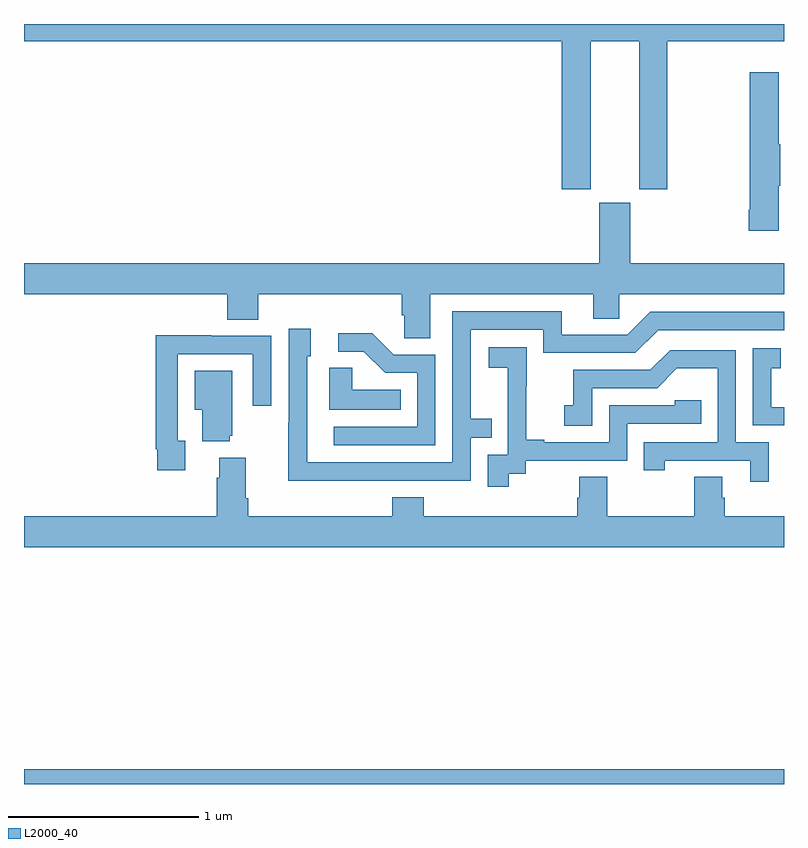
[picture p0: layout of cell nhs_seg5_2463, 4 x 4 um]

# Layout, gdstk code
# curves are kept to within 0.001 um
import gdstk
lib = gdstk.Library(unit=1e-6, precision=1e-09)
def R(c, l, rs):  # rectangles x0, y0, x1, y1
    for r in rs: c.add(gdstk.rectangle(r[:2], r[2:], *l))
def P(c, l, *ps):  # polygons
    for p in ps: c.add(gdstk.Polygon(p, *l))
L2000_40 = (2000, 40)

nhs_seg5_2463 = lib.new_cell('nhs_seg5_2463')
R(nhs_seg5_2463, L2000_40, [(253,904.799,257,904.876)])
P(nhs_seg5_2463, L2000_40, [(255.982,908.708),(256.238,908.708),(256.238,907.929),(256.386,907.929),(256.386,908.708),(257,908.708),(257,908.799),(253,908.799),(253,908.708),(255.83,908.708),(255.83,907.929),(255.982,907.929)],
  [(256.972,907.948),(256.98,907.948),(256.98,908.165),(256.972,908.165),(256.972,908.545),(256.819,908.545),(256.819,907.822),(256.814,907.822),(256.814,907.71),(256.972,907.71)],
  [(255.139,907.376),(255.995,907.376),(255.995,907.249),(256.134,907.249),(256.134,907.376),(257,907.376),(257,907.54),(256.192,907.54),(256.192,907.857),(256.028,907.857),(256.028,907.54),(253,907.54),(253,907.376),(254.069,907.376),(254.069,907.243),(254.234,907.243),(254.234,907.376),(254.987,907.376),(254.987,907.267),(255,907.267),(255,907.144),(255.139,907.144)],
  [(254.855,906.396),(255.351,906.396),(255.351,906.621),(255.461,906.621),(255.461,906.722),(255.351,906.722),(255.351,907.191),(255.732,907.191),(255.732,907.068),(256.218,907.068),(256.338,907.188),(257,907.188),(257,907.284),(256.296,907.284),(256.176,907.164),(255.829,907.164),(255.829,907.287),(255.255,907.287),(255.255,906.492),(254.49,906.492),(254.49,907.05),(254.509,907.05),(254.509,907.195),(254.394,907.195),(254.394,906.701),(254.392,906.701),(254.392,906.395)],
  [(255.165,907.059),(254.946,907.059),(254.833,907.172),(254.655,907.172),(254.655,907.074),(254.789,907.074),(254.9,906.963),(255.069,906.963),(255.069,906.678),(254.631,906.678),(254.631,906.582),(255.165,906.582)],
  [(253.849,906.606),(253.809,906.606),(253.809,907.062),(254.205,907.062),(254.205,906.789),(254.301,906.789),(254.301,907.158),(253.985,907.158),(253.985,907.16),(253.693,907.16),(253.693,906.562),(253.701,906.562),(253.701,906.45),(253.849,906.45)],
  [(255.55,906.433),(255.642,906.433),(255.642,906.501),(256.176,906.501),(256.176,906.696),(256.565,906.696),(256.565,906.819),(256.425,906.819),(256.425,906.792),(256.08,906.792),(256.08,906.597),(255.739,906.597),(255.739,906.61),(255.644,906.61),(255.644,906.893),(255.645,906.893),(255.645,907.099),(255.447,907.099),(255.447,906.989),(255.545,906.989),(255.545,906.761),(255.546,906.761),(255.546,906.531),(255.441,906.531),(255.441,906.363),(255.55,906.363)],
  [(257,906.783),(256.933,906.783),(256.933,906.987),(256.982,906.987),(256.982,907.093),(256.836,907.093),(256.836,906.687),(257,906.687)],
  [(256.92,906.597),(256.746,906.597),(256.746,907.083),(256.4,907.083),(256.295,906.978),(255.892,906.978),(255.892,906.793),(255.843,906.793),(255.843,906.684),(255.99,906.684),(255.99,906.882),(256.332,906.882),(256.436,906.986),(256.65,906.986),(256.65,906.597),(256.261,906.597),(256.261,906.45),(256.372,906.45),(256.372,906.501),(256.823,906.501),(256.823,906.39),(256.92,906.39)],
  [(254.984,906.874),(254.727,906.874),(254.727,906.989),(254.606,906.989),(254.606,906.77),(254.984,906.77)],
  [(254.084,906.633),(254.095,906.633),(254.095,906.973),(253.898,906.973),(253.898,906.77),(253.937,906.77),(253.937,906.602),(254.084,906.602)],
  [(257,906.208),(256.688,906.208),(256.688,906.306),(256.675,906.306),(256.675,906.416),(256.528,906.416),(256.528,906.208),(256.071,906.208),(256.071,906.416),(255.923,906.416),(255.923,906.306),(255.911,906.306),(255.911,906.208),(255.104,906.208),(255.104,906.307),(254.939,906.307),(254.939,906.208),(254.18,906.208),(254.18,906.304),(254.167,906.304),(254.167,906.517),(254.027,906.517),(254.027,906.41),(254.015,906.41),(254.015,906.208),(253,906.208),(253,906.044),(257,906.044)])

lib.write_gds('nhs_seg5_2463.gds')
